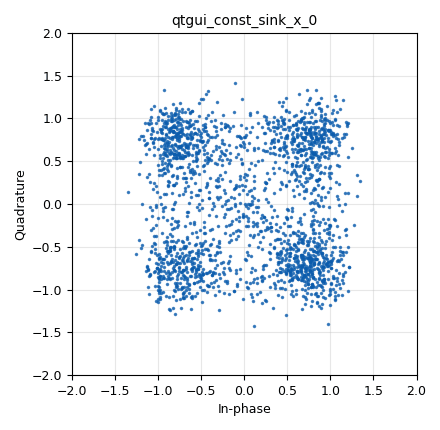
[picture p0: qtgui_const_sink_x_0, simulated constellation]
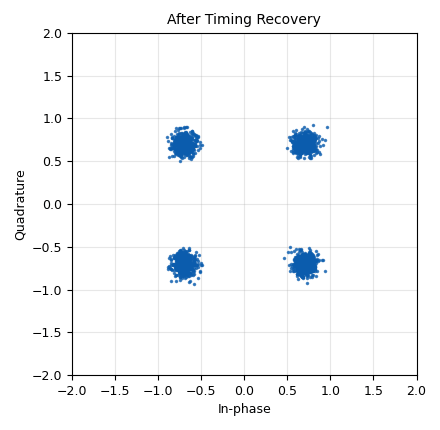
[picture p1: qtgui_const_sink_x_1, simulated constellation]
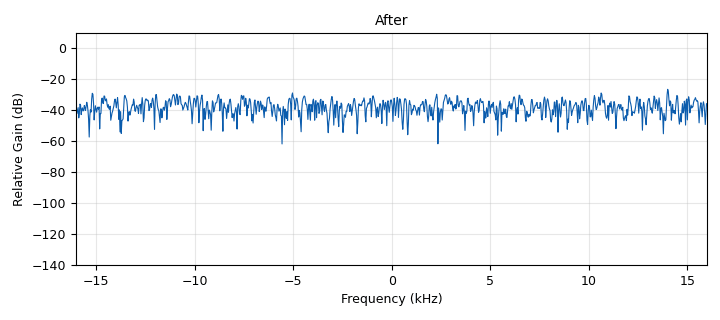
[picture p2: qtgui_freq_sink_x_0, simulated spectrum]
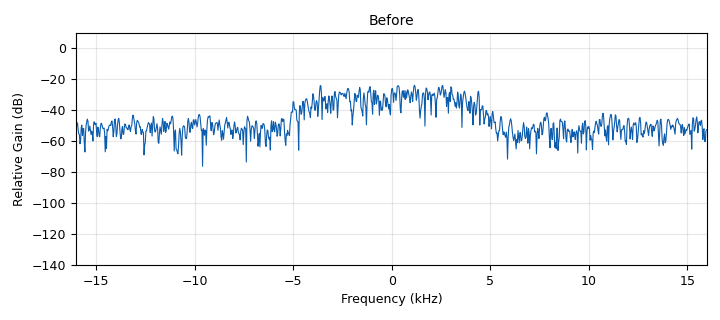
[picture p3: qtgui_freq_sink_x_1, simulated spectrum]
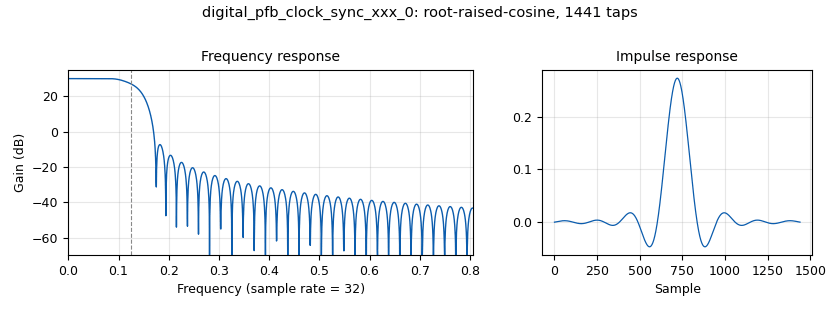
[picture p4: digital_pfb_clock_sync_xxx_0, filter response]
<?xml version='1.0' encoding='utf-8'?>
<?grc format='1' created='3.7.13'?>
<flow_graph>
<block>
<key>options</key>
<param><key>id</key><value>top_block</value></param>
<param><key>generate_options</key><value>qt_gui</value></param>
<param><key>title</key><value>mpsk_rolloff</value></param>
</block>
<block>
<key>variable</key>
<param><key>id</key><value>arity</value></param>
<param><key>value</key><value>4</value></param>
</block>
<block>
<key>variable</key>
<param><key>id</key><value>excess_bw</value></param>
<param><key>value</key><value>350e-3</value></param>
</block>
<block>
<key>variable_qtgui_range</key>
<param><key>id</key><value>freq_offset</value></param>
<param><key>value</key><value>0</value></param>
<param><key>label</key><value>Frequency Offset</value></param>
<param><key>orient</key><value>Qt.Horizontal</value></param>
<param><key>start</key><value>-100e-3</value></param>
<param><key>step</key><value>1e-3</value></param>
<param><key>stop</key><value>100e-3</value></param>
</block>
<block>
<key>variable</key>
<param><key>id</key><value>nfilts</value></param>
<param><key>value</key><value>32</value></param>
</block>
<block>
<key>variable_qtgui_range</key>
<param><key>id</key><value>noise_volt</value></param>
<param><key>value</key><value>200e-3</value></param>
<param><key>label</key><value>Noise Voltage</value></param>
<param><key>orient</key><value>Qt.Horizontal</value></param>
<param><key>start</key><value>0</value></param>
<param><key>step</key><value>10e-3</value></param>
<param><key>stop</key><value>1</value></param>
</block>
<block>
<key>variable_constellation_rect</key>
<param><key>id</key><value>qpsk</value></param>
<param><key>const_points</key><value>[-1-1j, -1+1j, 1+1j, 1-1j]</value></param>
<param><key>imag_sect</key><value>2</value></param>
<param><key>real_sect</key><value>2</value></param>
<param><key>rot_sym</key><value>4</value></param>
<param><key>sym_map</key><value>[0, 1, 3, 2]</value></param>
<param><key>w_imag_sect</key><value>1</value></param>
<param><key>w_real_sect</key><value>1</value></param>
</block>
<block>
<key>variable</key>
<param><key>id</key><value>rrc_taps</value></param>
<param><key>value</key><value>firdes.root_raised_cosine( nfilts,nfilts, 1/float(sps),excess_bw, 45*nfilts)</value></param>
</block>
<block>
<key>variable</key>
<param><key>id</key><value>samp_rate</value></param>
<param><key>value</key><value>32000</value></param>
</block>
<block>
<key>variable</key>
<param><key>id</key><value>sps</value></param>
<param><key>value</key><value>4</value></param>
</block>
<block>
<key>variable</key>
<param><key>id</key><value>taps</value></param>
<param><key>value</key><value>1</value></param>
</block>
<block>
<key>variable_qtgui_range</key>
<param><key>id</key><value>time_offset</value></param>
<param><key>value</key><value>1.0005</value></param>
<param><key>label</key><value>Timing Offset</value></param>
<param><key>orient</key><value>Qt.Horizontal</value></param>
<param><key>start</key><value>999e-3</value></param>
<param><key>step</key><value>100e-6</value></param>
<param><key>stop</key><value>1.001</value></param>
</block>
<block>
<key>variable_qtgui_range</key>
<param><key>id</key><value>timing_loop_BW</value></param>
<param><key>value</key><value>62.8e-3</value></param>
<param><key>label</key><value>Timing: BW</value></param>
<param><key>orient</key><value>Qt.Horizontal</value></param>
<param><key>start</key><value>0</value></param>
<param><key>step</key><value>10e-3</value></param>
<param><key>stop</key><value>200e-3</value></param>
</block>
<block>
<key>analog_random_source_x</key>
<param><key>id</key><value>analog_random_source_x_0</value></param>
<param><key>max</key><value>255</value></param>
<param><key>min</key><value>0</value></param>
<param><key>num_samps</key><value>10000</value></param>
<param><key>type</key><value>byte</value></param>
<param><key>repeat</key><value>True</value></param>
</block>
<block>
<key>blocks_throttle</key>
<param><key>id</key><value>blocks_throttle_0</value></param>
<param><key>samples_per_second</key><value>samp_rate</value></param>
<param><key>type</key><value>complex</value></param>
</block>
<block>
<key>channels_channel_model</key>
<param><key>id</key><value>channels_channel_model_0</value></param>
<param><key>epsilon</key><value>time_offset</value></param>
<param><key>freq_offset</key><value>freq_offset</value></param>
<param><key>noise_voltage</key><value>noise_volt</value></param>
<param><key>seed</key><value>0</value></param>
<param><key>taps</key><value>taps</value></param>
</block>
<block>
<key>digital_constellation_modulator</key>
<param><key>id</key><value>digital_constellation_modulator_0</value></param>
<param><key>constellation</key><value>qpsk</value></param>
<param><key>differential</key><value>True</value></param>
<param><key>excess_bw</key><value>0.35</value></param>
<param><key>samples_per_symbol</key><value>sps</value></param>
</block>
<block>
<key>digital_pfb_clock_sync_xxx</key>
<param><key>id</key><value>digital_pfb_clock_sync_xxx_0</value></param>
<param><key>filter_size</key><value>32</value></param>
<param><key>init_phase</key><value>16</value></param>
<param><key>loop_bw</key><value>timing_loop_BW</value></param>
<param><key>max_dev</key><value>1.5</value></param>
<param><key>osps</key><value>1</value></param>
<param><key>sps</key><value>4.004</value></param>
<param><key>taps</key><value>rrc_taps</value></param>
<param><key>type</key><value>ccf</value></param>
</block>
<block>
<key>qtgui_const_sink_x</key>
<param><key>id</key><value>qtgui_const_sink_x_0</value></param>
<param><key>size</key><value>2048</value></param>
<param><key>type</key><value>complex</value></param>
</block>
<block>
<key>qtgui_const_sink_x</key>
<param><key>id</key><value>qtgui_const_sink_x_1</value></param>
<param><key>name</key><value>"After Timing Recovery"</value></param>
<param><key>size</key><value>2048</value></param>
<param><key>type</key><value>complex</value></param>
</block>
<block>
<key>qtgui_freq_sink_x</key>
<param><key>id</key><value>qtgui_freq_sink_x_0</value></param>
<param><key>bw</key><value>samp_rate</value></param>
<param><key>fc</key><value>0</value></param>
<param><key>fftsize</key><value>1024</value></param>
<param><key>name</key><value>"After"</value></param>
<param><key>showports</key><value>True</value></param>
<param><key>type</key><value>complex</value></param>
<param><key>wintype</key><value>firdes.WIN_BLACKMAN_hARRIS</value></param>
</block>
<block>
<key>qtgui_freq_sink_x</key>
<param><key>id</key><value>qtgui_freq_sink_x_1</value></param>
<param><key>bw</key><value>samp_rate</value></param>
<param><key>fc</key><value>0</value></param>
<param><key>fftsize</key><value>1024</value></param>
<param><key>name</key><value>"Before"</value></param>
<param><key>showports</key><value>True</value></param>
<param><key>type</key><value>complex</value></param>
<param><key>wintype</key><value>firdes.WIN_BLACKMAN_hARRIS</value></param>
</block>
<connection><source_block_id>analog_random_source_x_0</source_block_id><sink_block_id>digital_constellation_modulator_0</sink_block_id><source_key>0</source_key><sink_key>0</sink_key></connection>
<connection><source_block_id>blocks_throttle_0</source_block_id><sink_block_id>channels_channel_model_0</sink_block_id><source_key>0</source_key><sink_key>0</sink_key></connection>
<connection><source_block_id>channels_channel_model_0</source_block_id><sink_block_id>digital_pfb_clock_sync_xxx_0</sink_block_id><source_key>0</source_key><sink_key>0</sink_key></connection>
<connection><source_block_id>channels_channel_model_0</source_block_id><sink_block_id>qtgui_const_sink_x_0</sink_block_id><source_key>0</source_key><sink_key>0</sink_key></connection>
<connection><source_block_id>channels_channel_model_0</source_block_id><sink_block_id>qtgui_freq_sink_x_1</sink_block_id><source_key>0</source_key><sink_key>0</sink_key></connection>
<connection><source_block_id>digital_constellation_modulator_0</source_block_id><sink_block_id>blocks_throttle_0</sink_block_id><source_key>0</source_key><sink_key>0</sink_key></connection>
<connection><source_block_id>digital_pfb_clock_sync_xxx_0</source_block_id><sink_block_id>qtgui_const_sink_x_1</sink_block_id><source_key>0</source_key><sink_key>0</sink_key></connection>
<connection><source_block_id>digital_pfb_clock_sync_xxx_0</source_block_id><sink_block_id>qtgui_freq_sink_x_0</sink_block_id><source_key>0</source_key><sink_key>0</sink_key></connection>
</flow_graph>
